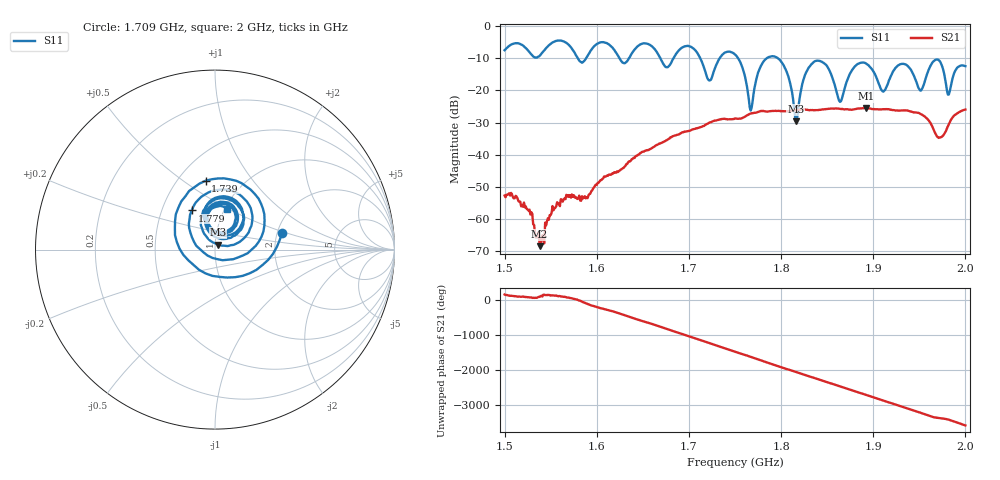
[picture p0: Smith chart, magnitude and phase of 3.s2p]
! NanoVNA-App by SYSJOINT et al v1.1.209 (+OD18)
! Date: 2026-01-21 14:14:11
! Start: 1,5GHz Stop: 2GHz Points: 501
! S-Parameter data: F S11 S21 S12 S22
# Hz S RI R 50
!  Frequency  S11_Real  S11_Imag  S21_Real  S21_Imag  S12_Real  S12_Imag  S22_Real  S22_Imag
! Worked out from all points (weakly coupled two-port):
!   501 points, 1.5 GHz to 2 GHz, reference 50 ohm
!   highest |S21| = -25.52 dB at 1.892 GHz (marker M1); lowest = -68.5 dB at 1.538 GHz (marker M2)
!   lowest |S11| = -29.6 dB at 1.816 GHz (marker M3), VSWR 1.07, Z = 51.7 + j2.92 ohm
!   |S11| at or under -10 dB: 1.712 GHz to 1.733 GHz (21.03 MHz wide, 1.22 % of centre); 1.753 GHz to 1.784 GHz (31.07 MHz wide, 1.76 % of centre); 1.797 GHz to end of sweep (the widest 3 of 6)
!   S12 and S22 are empty: the file has one direction only
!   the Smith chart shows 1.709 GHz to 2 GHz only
!   S11 on the Smith chart (normalised r, x): 1.709 GHz: 2.13, +0.47; 1.739 GHz: 0.68, +0.61; 1.779 GHz: 0.71, +0.33; 2 GHz: 1.02, +0.50
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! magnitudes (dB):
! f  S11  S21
! 1.5 GHz  -7.5  -52.7
! 1.538 GHz  -9.2  -68.5
! 1.561 GHz  -4.5  -53.9
! 1.584 GHz  -11.4  -52.9
! 1.667 GHz  -8.9  -36.7
! 1.709 GHz  -8.3  -31.8
! 1.722 GHz  -16.9  -30.1
! 1.739 GHz  -8.2  -28.9
! 1.75 GHz  -8.8  -28.7
! 1.767 GHz  -26.3  -27.2
! 1.779 GHz  -11.9  -26.4
! 1.801 GHz  -11.4  -26.4
! 1.816 GHz  -29.6  -26.2
! 1.834 GHz  -11.6  -26.1
! 1.864 GHz  -23.6  -25.7
! 1.892 GHz  -11.6  -25.5
! 1.917 GHz  -16.9  -25.9
! 1.934 GHz  -11.8  -26.2
! 1.952 GHz  -20.0  -27.4
! 1.972 GHz  -10.8  -34.7
! 1.982 GHz  -21.3  -30.5
! 2 GHz  -12.5  -25.9
